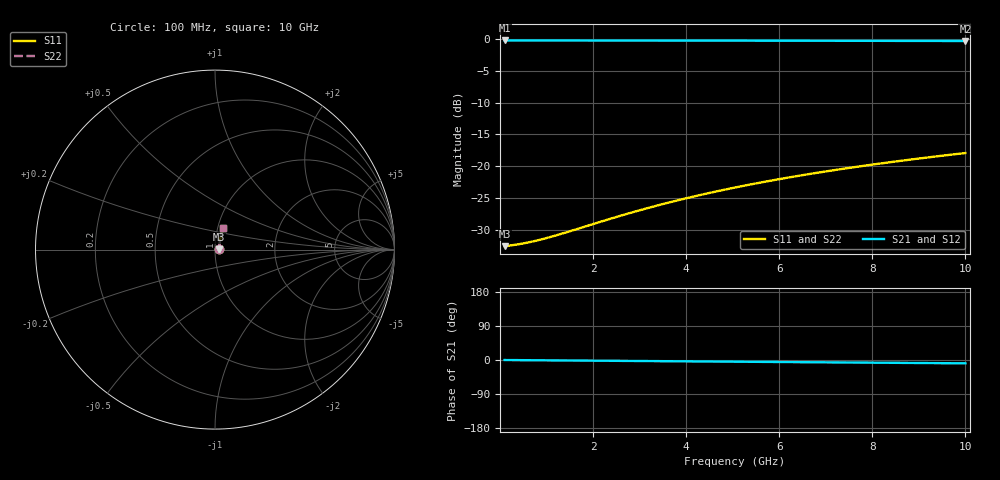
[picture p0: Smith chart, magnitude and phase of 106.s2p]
# Hz S RI R 50.00
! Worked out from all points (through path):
!   100 points, 100 MHz to 10 GHz, reference 50 ohm
!   highest |S21| = -0.21 dB at 100 MHz (marker M1); lowest = -0.3 dB at 10 GHz (marker M2)
!   group delay of S21, straight-line fit = 2.44 ps
!   lowest |S11| = -32.6 dB at 100 MHz (marker M3), VSWR 1.05, Z = 52.4 + j0.128 ohm
!   |S11| at or under -10 dB: start of sweep to end of sweep
!   |S22| runs from -32.6 to -17.9 dB; largest |S21 - S12| = 0
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1e8  0.0235 0.00122  0.9765 -0.0015  0.9765 -0.0015  0.0235 0.00122
3e8  0.0238 0.00366  0.9762 -0.00451  0.9762 -0.00451  0.0238 0.00366
5e8  0.024 0.0061  0.976 -0.00751  0.976 -0.00751  0.024 0.0061
8e8  0.0242 0.00976  0.9758 -0.012  0.9758 -0.012  0.0242 0.00976
1e9  0.0244 0.0122  0.9756 -0.015  0.9756 -0.015  0.0244 0.0122
1.2e9  0.0245 0.0146  0.9755 -0.018  0.9755 -0.018  0.0245 0.0146
1.8e9  0.0251 0.0219  0.9749 -0.027  0.9749 -0.027  0.0251 0.0219
2.3e9  0.0256 0.028  0.9744 -0.0345  0.9744 -0.0345  0.0256 0.028
2.7e9  0.026 0.0328  0.9739 -0.0405  0.9739 -0.0405  0.026 0.0328
3.1e9  0.0265 0.0377  0.9734 -0.0465  0.9734 -0.0465  0.0265 0.0377
3.4e9  0.027 0.0413  0.973 -0.0509  0.973 -0.0509  0.027 0.0413
3.8e9  0.0276 0.0461  0.9724 -0.0569  0.9724 -0.0569  0.0276 0.0461
4.2e9  0.0282 0.0509  0.9717 -0.0628  0.9717 -0.0628  0.0282 0.0509
4.6e9  0.0289 0.0558  0.971 -0.0688  0.971 -0.0688  0.0289 0.0558
5.1e9  0.0299 0.0617  0.97 -0.0762  0.97 -0.0762  0.0299 0.0617
5.5e9  0.0307 0.0665  0.9691 -0.0821  0.9691 -0.0821  0.0307 0.0665
5.9e9  0.0316 0.0713  0.9682 -0.088  0.9682 -0.088  0.0316 0.0713
6.7e9  0.0336 0.0808  0.9662 -0.0998  0.9662 -0.0998  0.0336 0.0808
7.5e9  0.0358 0.0902  0.964 -0.1115  0.964 -0.1115  0.0358 0.0902
8.4e9  0.0385 0.1007  0.9612 -0.1246  0.9612 -0.1246  0.0385 0.1007
9.2e9  0.0411 0.11  0.9585 -0.1361  0.9585 -0.1361  0.0411 0.11
1e10  0.044 0.1192  0.9556 -0.1476  0.9556 -0.1476  0.044 0.1192
